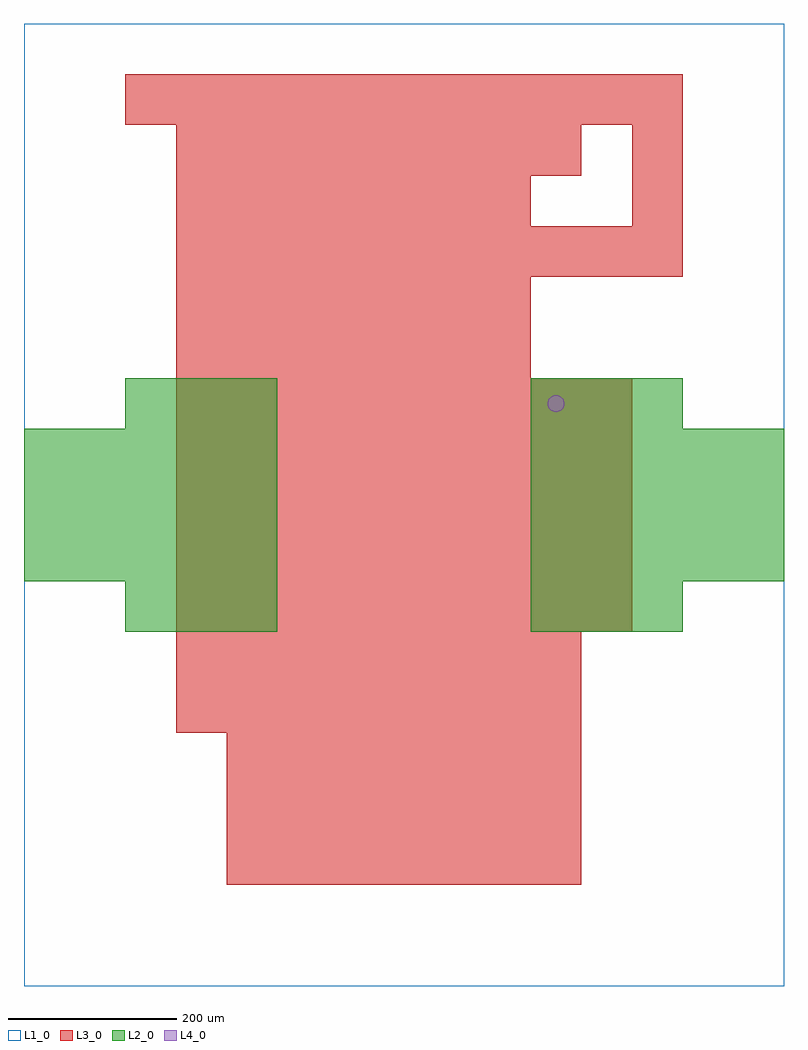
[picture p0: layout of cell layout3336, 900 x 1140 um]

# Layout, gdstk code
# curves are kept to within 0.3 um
import gdstk
lib = gdstk.Library(unit=1e-6, precision=1e-09)
def R(c, l, rs):  # rectangles x0, y0, x1, y1
    for r in rs: c.add(gdstk.rectangle(r[:2], r[2:], *l))
def A(c, l, x, y, w, h, nx, ny, dx, dy):  # array of equal rectangles
    R(c, l, [(x+i*dx, y+j*dy, x+i*dx+w, y+j*dy+h) for i in range(nx) for j in range(ny)])
def P(c, l, *ps):  # polygons
    for p in ps: c.add(gdstk.Polygon(p, *l))
L1_0 = (1, 0)
L2_0 = (2, 0)
L3_0 = (3, 0)
L4_0 = (4, 0)

layout3336 = lib.new_cell('layout3336')
R(layout3336, L1_0, [(0,0,900,1140)])
A(layout3336, L2_0, 120, 420, 60, 60, 3, 2, 60, 240)
A(layout3336, L2_0, 600, 420, 60, 60, 3, 2, 60, 240)
A(layout3336, L2_0, 0, 480, 60, 60, 5, 3, 60, 60)
A(layout3336, L2_0, 600, 480, 60, 60, 5, 3, 60, 60)
A(layout3336, L3_0, 240, 120, 60, 60, 7, 3, 60, 60)
A(layout3336, L3_0, 180, 300, 60, 60, 8, 2, 60, 60)
A(layout3336, L3_0, 180, 420, 60, 60, 9, 5, 60, 60)
A(layout3336, L3_0, 180, 720, 60, 60, 7, 2, 60, 60)
A(layout3336, L3_0, 180, 840, 60, 60, 10, 1, 60, 0)
A(layout3336, L3_0, 180, 900, 60, 60, 7, 1, 60, 0)
A(layout3336, L3_0, 180, 960, 60, 60, 8, 1, 60, 0)
A(layout3336, L3_0, 120, 1020, 60, 60, 11, 1, 60, 0)
R(layout3336, L3_0, [(720,900,780,960), (720,960,780,1020)])
P(layout3336, L4_0, [(640,690),(639.239,693.827),(637.071,697.071),(633.827,699.239),(630,700),(626.173,699.239),(622.929,697.071),(620.761,693.827),(620,690),(620.761,686.173),(622.929,682.929),(626.173,680.761),(630,680),(633.827,680.761),(637.071,682.929),(639.239,686.173)])

lib.write_gds('layout3336.gds')
